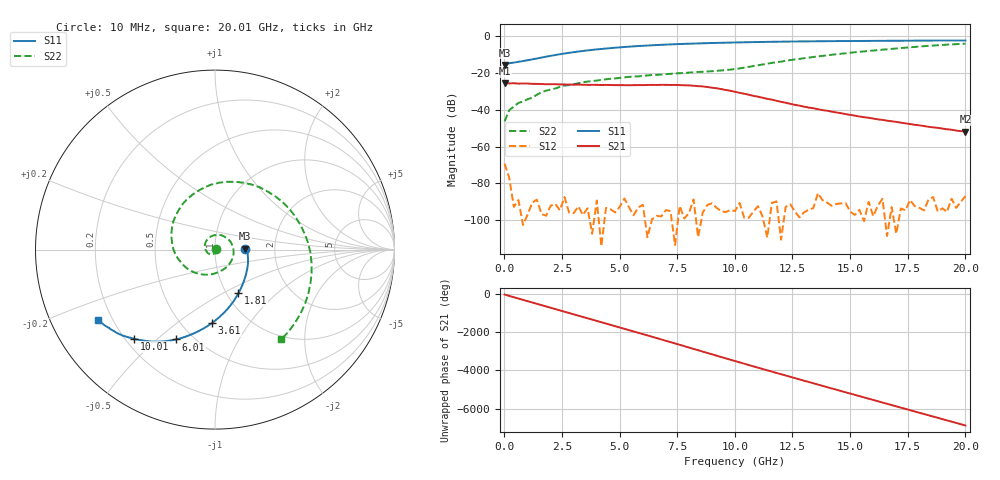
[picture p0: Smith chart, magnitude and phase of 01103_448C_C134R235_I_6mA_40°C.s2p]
!;Filter: kein Filter
!auto
!3/21/2019 9:27:54 AM
!3/21/2019 9:28:10 AM
!SP-Measurements Prober G4
!SP-Measurements Prober G4
!01103_448C
!134
!235
!12
!40
!-20
!0.00599970
!2.02
!0.74959551
!0.74959551
# Hz S  RI  R 50
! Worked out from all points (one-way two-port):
!   101 points, 10 MHz to 20.01 GHz, reference 50 ohm
!   highest |S21| = -25.60 dB at 10 MHz (marker M1); lowest = -51.9 dB at 20.01 GHz (marker M2)
!   lowest |S11| = -15.7 dB at 10 MHz (marker M3), VSWR 1.39, Z = 69.7 + j0.823 ohm
!   |S11| at or under -10 dB: start of sweep to 2.344 GHz
!   |S22| runs from -46.4 to -4.1 dB; largest |S21 - S12| = 0.053
!   S11 on the Smith chart (normalised r, x): 10 MHz: 1.39, +0.02; 1.81 GHz: 1.14, -0.60; 3.61 GHz: 0.70, -0.68; 6.01 GHz: 0.41, -0.58; 10.01 GHz: 0.23, -0.42; 20.01 GHz: 0.15, -0.27
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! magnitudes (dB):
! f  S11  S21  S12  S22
! 10 MHz  -15.7  -25.6  -69.3  -46.4
! 210 MHz  -14.8  -25.7  -76.9  -40.3
! 410 MHz  -14.4  -25.6  -92.8  -38.3
! 610 MHz  -14.0  -25.8  -89.1  -36.3
! 1.21 GHz  -12.6  -26.0  -90.5  -33.5
! 1.61 GHz  -11.7  -26.0  -96.6  -30.5
! 1.81 GHz  -11.2  -26.2  -97.6  -29.7
! 2.61 GHz  -9.5  -26.3  -87.5  -26.9
! 3.41 GHz  -8.1  -26.4  -97.2  -25.1
! 3.61 GHz  -7.8  -26.5  -93.6  -24.7
! 6.01 GHz  -5.3  -26.6  -91.6  -21.6
! 6.81 GHz  -4.7  -26.5  -98.0  -20.9
! 8.01 GHz  -4.1  -26.8  -96.2  -19.8
! 8.61 GHz  -3.9  -27.4  -95.8  -19.4
! 9.21 GHz  -3.7  -28.3  -93.2  -18.9
! 10.01 GHz  -3.5  -30.3  -95.1  -17.9
! 11.61 GHz  -3.1  -34.5  -90.6  -14.6
! 12.61 GHz  -2.9  -37.4  -95.3  -12.7
! 13.41 GHz  -2.8  -39.2  -93.4  -11.4
! 15.41 GHz  -2.6  -43.7  -94.4  -8.5
! 16.81 GHz  -2.5  -46.3  -92.9  -7.0
! 20.01 GHz  -2.4  -51.9  -86.9  -4.1
